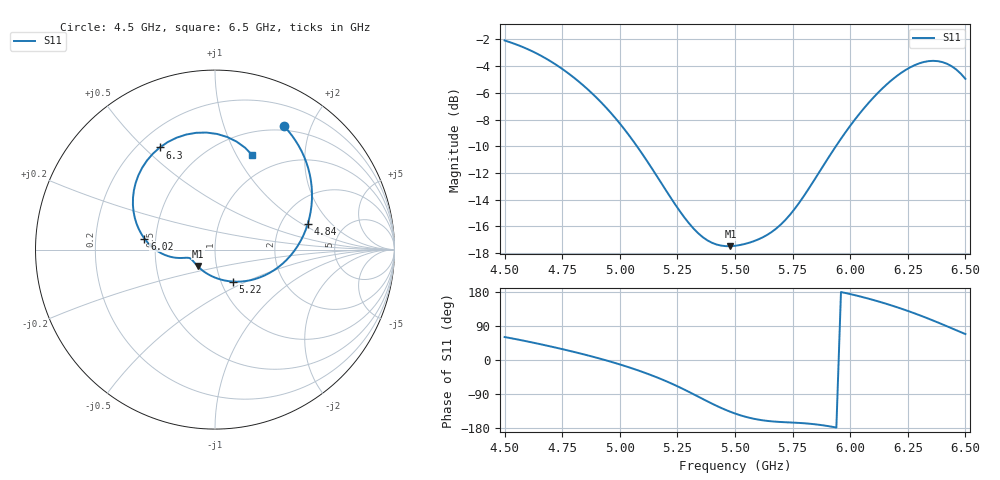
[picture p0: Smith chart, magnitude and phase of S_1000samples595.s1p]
! TOUCHSTONE file generated by CST MICROWAVE STUDIO
! Date and time: Fri Oct 28 17:26:24 2022
! Project name: L.cst
! Parameters = {Di=1.27; Epsilon_r=1.56; InnerDiameter=1.27; Length=2; Lf=10; Lg=60; OuterConductorThickness=0.2921; OuterDiameter=3.6; Wf=3; Wp=41.2; de=1.5; df=6.8; g=0.8; gx=1.49857; gy=1.7295; h=2.34; hf=1.524; px=11.6525; py=11.4737; w=9.7; wx=10.154; wy=9.74416}
! Header version: 2018
! Port assignment regex: !\s*Touchstone port\s*([0-9]+)\s*=\s*(CST MWS port|CST DS port)\s*([0-9]+|Zmin|Zmax)\s*\(\"(.*)\"\)(\s*mode\s*([0-9]+))?.*
! Touchstone port assignment:
! Touchstone port 1 = CST MWS port 1 ("")
# GHz S DB R 50
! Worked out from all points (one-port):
!   101 points, 4.5 GHz to 6.5 GHz, reference 50 ohm
!   lowest |S11| = -17.5 dB at 5.48 GHz (marker M1), VSWR 1.31, Z = 40.5 - j7.56 ohm
!   |S11| at or under -10 dB: 5.075 GHz to 5.938 GHz (863.1 MHz wide, 15.7 % of centre)
!   S11 on the Smith chart (normalised r, x): 4.5 GHz: 0.45, +1.62; 4.84 GHz: 2.81, +1.12; 5.22 GHz: 1.14, -0.42; 6.02 GHz: 0.43, +0.06; 6.3 GHz: 0.29, +0.56; 6.5 GHz: 0.75, +1.16
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4.5  -2.07 60.6
4.64  -3.05 43.7
4.7  -3.64 35.7
4.76  -4.33 27.3
4.84  -5.42 15.4
4.92  -6.72 2.5
5  -8.29 -11.7
5.1  -10.63 -31.8
5.22  -13.82 -61.0
5.26  -14.84 -72.2
5.36  -16.80 -102.8
5.42  -17.35 -120.9
5.48  -17.48 -136.7
5.5  -17.45 -141.2
5.64  -16.63 -160.7
5.76  -14.66 -165.5
5.9  -11.00 -174.0
6  -8.46 174.0
6.02  -8.01 171.1
6.1  -6.36 158.4
6.16  -5.34 147.7
6.22  -4.51 135.8
6.26  -4.09 127.4
6.3  -3.79 118.4
6.36  -3.60 104.1
6.4  -3.69 94.1
6.44  -4.00 83.8
6.5  -4.95 68.5
